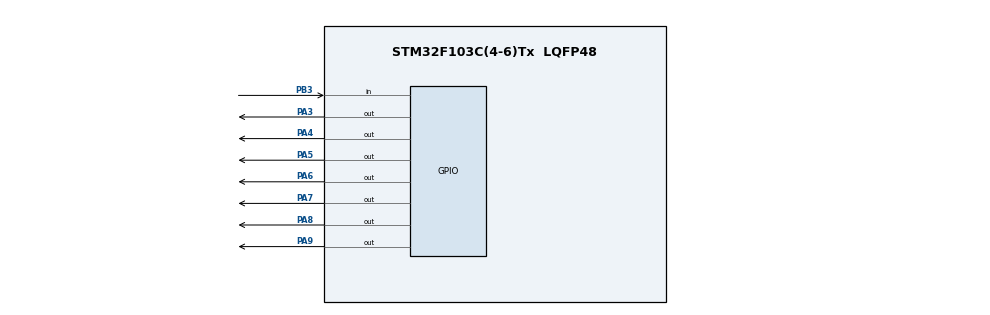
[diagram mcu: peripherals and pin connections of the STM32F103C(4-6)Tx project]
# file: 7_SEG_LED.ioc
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Mcu.Family=STM32F1
Mcu.Name=STM32F103C(4-6)Tx
Mcu.Package=LQFP48
NVIC.PriorityGroup=NVIC_PRIORITYGROUP_4
PA3.Signal=GPIO_Output
PA4.Signal=GPIO_Output
PA5.Signal=GPIO_Output
PA6.Signal=GPIO_Output
PA7.Signal=GPIO_Output
PA8.Signal=GPIO_Output
PA9.Signal=GPIO_Output
PB3.Signal=GPIO_Input
ProjectManager.HeapSize=0x200
ProjectManager.StackSize=0x400
ProjectManager.TargetToolchain=STM32CubeIDE
RCC.APB1Freq_Value=8000000
RCC.APB2Freq_Value=8000000
VP_SYS_VS_ND.Mode=No_Debug
board=custom

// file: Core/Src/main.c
/* USER CODE BEGIN Header */
/**
  ******************************************************************************
  * @file           : main.c
  * @brief          : Main program body
  ******************************************************************************
  * @attention
  *
  * <h2><center>&copy; Copyright (c) 2024 STMicroelectronics.
  * All rights reserved.</center></h2>
  *
  * This software component is licensed by ST under BSD 3-Clause license,
  * the "License"; You may not use this file except in compliance with the
  * License. You may obtain a copy of the License at:
  *                        opensource.org/licenses/BSD-3-Clause
  *
  ******************************************************************************
  */
/* USER CODE END Header */
#include "main.h"

void SystemClock_Config(void);
static void MX_GPIO_Init(void);

static void display7SEG(int num) {
    switch (num) {
        case 0:
            HAL_GPIO_WritePin(GPIOA, GPIO_PIN_3, GPIO_PIN_SET);
            HAL_GPIO_WritePin(GPIOA, GPIO_PIN_4, GPIO_PIN_SET);
            HAL_GPIO_WritePin(GPIOA, GPIO_PIN_5, GPIO_PIN_SET);
            HAL_GPIO_WritePin(GPIOA, GPIO_PIN_6, GPIO_PIN_SET);
            HAL_GPIO_WritePin(GPIOA, GPIO_PIN_7, GPIO_PIN_SET);
            HAL_GPIO_WritePin(GPIOA, GPIO_PIN_8, GPIO_PIN_SET);
            HAL_GPIO_WritePin(GPIOA, GPIO_PIN_9, GPIO_PIN_RESET);
            break;
        case 1:
        	HAL_GPIO_WritePin(GPIOA, GPIO_PIN_3, GPIO_PIN_RESET);
			HAL_GPIO_WritePin(GPIOA, GPIO_PIN_4, GPIO_PIN_SET);
			HAL_GPIO_WritePin(GPIOA, GPIO_PIN_5, GPIO_PIN_SET);
			HAL_GPIO_WritePin(GPIOA, GPIO_PIN_6, GPIO_PIN_RESET);
			HAL_GPIO_WritePin(GPIOA, GPIO_PIN_7, GPIO_PIN_RESET);
			HAL_GPIO_WritePin(GPIOA, GPIO_PIN_8, GPIO_PIN_RESET);
			HAL_GPIO_WritePin(GPIOA, GPIO_PIN_9, GPIO_PIN_RESET);
            break;
        case 2:
        	HAL_GPIO_WritePin(GPIOA, GPIO_PIN_3, GPIO_PIN_SET);
			HAL_GPIO_WritePin(GPIOA, GPIO_PIN_4, GPIO_PIN_SET);
			HAL_GPIO_WritePin(GPIOA, GPIO_PIN_5, GPIO_PIN_RESET);
			HAL_GPIO_WritePin(GPIOA, GPIO_PIN_6, GPIO_PIN_SET);
			HAL_GPIO_WritePin(GPIOA, GPIO_PIN_7, GPIO_PIN_SET);
			HAL_GPIO_WritePin(GPIOA, GPIO_PIN_8, GPIO_PIN_RESET);
			HAL_GPIO_WritePin(GPIOA, GPIO_PIN_9, GPIO_PIN_SET);
            break;
          case 3:
          	HAL_GPIO_WritePin(GPIOA, GPIO_PIN_3, GPIO_PIN_SET);
  			HAL_GPIO_WritePin(GPIOA, GPIO_PIN_4, GPIO_PIN_SET);
  			HAL_GPIO_WritePin(GPIOA, GPIO_PIN_5, GPIO_PIN_SET);
  			HAL_GPIO_WritePin(GPIOA, GPIO_PIN_6, GPIO_PIN_SET);
  			HAL_GPIO_WritePin(GPIOA, GPIO_PIN_7, GPIO_PIN_RESET);
  			HAL_GPIO_WritePin(GPIOA, GPIO_PIN_8, GPIO_PIN_RESET);
  			HAL_GPIO_WritePin(GPIOA, GPIO_PIN_9, GPIO_PIN_SET);
            break;
          case 4:
          	HAL_GPIO_WritePin(GPIOA, GPIO_PIN_3, GPIO_PIN_RESET);
  			HAL_GPIO_WritePin(GPIOA, GPIO_PIN_4, GPIO_PIN_SET);
  			HAL_GPIO_WritePin(GPIOA, GPIO_PIN_5, GPIO_PIN_SET);
  			HAL_GPIO_WritePin(GPIOA, GPIO_PIN_6, GPIO_PIN_RESET);
  			HAL_GPIO_WritePin(GPIOA, GPIO_PIN_7, GPIO_PIN_RESET);
  			HAL_GPIO_WritePin(GPIOA, GPIO_PIN_8, GPIO_PIN_SET);
  			HAL_GPIO_WritePin(GPIOA, GPIO_PIN_9, GPIO_PIN_SET);
            break;
          case 5:
          	HAL_GPIO_WritePin(GPIOA, GPIO_PIN_3, GPIO_PIN_SET);
  			HAL_GPIO_WritePin(GPIOA, GPIO_PIN_4, GPIO_PIN_RESET);
  			HAL_GPIO_WritePin(GPIOA, GPIO_PIN_5, GPIO_PIN_SET);
  			HAL_GPIO_WritePin(GPIOA, GPIO_PIN_6, GPIO_PIN_SET);
  			HAL_GPIO_WritePin(GPIOA, GPIO_PIN_7, GPIO_PIN_RESET);
  			HAL_GPIO_WritePin(GPIOA, GPIO_PIN_8, GPIO_PIN_SET);
  			HAL_GPIO_WritePin(GPIOA, GPIO_PIN_9, GPIO_PIN_SET);
            break;
          case 6:
            	HAL_GPIO_WritePin(GPIOA, GPIO_PIN_3, GPIO_PIN_SET);
    			HAL_GPIO_WritePin(GPIOA, GPIO_PIN_4, GPIO_PIN_RESET);
    			HAL_GPIO_WritePin(GPIOA, GPIO_PIN_5, GPIO_PIN_SET);
    			HAL_GPIO_WritePin(GPIOA, GPIO_PIN_6, GPIO_PIN_SET);
    			HAL_GPIO_WritePin(GPIOA, GPIO_PIN_7, GPIO_PIN_SET);
    			HAL_GPIO_WritePin(GPIOA, GPIO_PIN_8, GPIO_PIN_SET);
    			HAL_GPIO_WritePin(GPIOA, GPIO_PIN_9, GPIO_PIN_SET);
            break;
          case 7:
          	HAL_GPIO_WritePin(GPIOA, GPIO_PIN_3, GPIO_PIN_SET);
  			HAL_GPIO_WritePin(GPIOA, GPIO_PIN_4, GPIO_PIN_SET);
  			HAL_GPIO_WritePin(GPIOA, GPIO_PIN_5, GPIO_PIN_SET);
  			HAL_GPIO_WritePin(GPIOA, GPIO_PIN_6, GPIO_PIN_RESET);
  			HAL_GPIO_WritePin(GPIOA, GPIO_PIN_7, GPIO_PIN_RESET);
  			HAL_GPIO_WritePin(GPIOA, GPIO_PIN_8, GPIO_PIN_RESET);
  			HAL_GPIO_WritePin(GPIOA, GPIO_PIN_9, GPIO_PIN_RESET);
            break;
          case 8:
          	HAL_GPIO_WritePin(GPIOA, GPIO_PIN_3, GPIO_PIN_SET);
  			HAL_GPIO_WritePin(GPIOA, GPIO_PIN_4, GPIO_PIN_SET);
  			HAL_GPIO_WritePin(GPIOA, GPIO_PIN_5, GPIO_PIN_SET);
  			HAL_GPIO_WritePin(GPIOA, GPIO_PIN_6, GPIO_PIN_SET);
  			HAL_GPIO_WritePin(GPIOA, GPIO_PIN_7, GPIO_PIN_SET);
  			HAL_GPIO_WritePin(GPIOA, GPIO_PIN_8, GPIO_PIN_SET);
  			HAL_GPIO_WritePin(GPIOA, GPIO_PIN_9, GPIO_PIN_SET);
            break;
          case 9:
          	HAL_GPIO_WritePin(GPIOA, GPIO_PIN_3, GPIO_PIN_SET);
  			HAL_GPIO_WritePin(GPIOA, GPIO_PIN_4, GPIO_PIN_SET);
  			HAL_GPIO_WritePin(GPIOA, GPIO_PIN_5, GPIO_PIN_SET);
  			HAL_GPIO_WritePin(GPIOA, GPIO_PIN_6, GPIO_PIN_SET);
  			HAL_GPIO_WritePin(GPIOA, GPIO_PIN_7, GPIO_PIN_RESET);
  			HAL_GPIO_WritePin(GPIOA, GPIO_PIN_8, GPIO_PIN_SET);
  			HAL_GPIO_WritePin(GPIOA, GPIO_PIN_9, GPIO_PIN_SET);
            break;
          default:
              break;
    }
}

int main(void)
{

  /* MCU Configuration--------------------------------------------------------*/

  /* Reset of all peripherals, Initializes the Flash interface and the Systick. */
  HAL_Init();

  /* Configure the system clock */
  SystemClock_Config();

  /* Initialize all configured peripherals */
  MX_GPIO_Init();

  /* Infinite loop */
  /* USER CODE BEGIN WHILE */
  int num= 0;
  display7SEG(num);
  int status_pre = 1;
  int status;
  while (1)
  {
	  status = HAL_GPIO_ReadPin(GPIOB, GPIO_PIN_3);
	  if (status_pre == 0 && status == 1) {
		  if(num ==9){
			  num = 0;
		  }
		  else {
			  num++;
		  }
        	HAL_GPIO_WritePin(GPIOA, GPIO_PIN_3, GPIO_PIN_RESET);
			HAL_GPIO_WritePin(GPIOA, GPIO_PIN_4, GPIO_PIN_RESET);
			HAL_GPIO_WritePin(GPIOA, GPIO_PIN_5, GPIO_PIN_RESET);
			HAL_GPIO_WritePin(GPIOA, GPIO_PIN_6, GPIO_PIN_RESET);
			HAL_GPIO_WritePin(GPIOA, GPIO_PIN_7, GPIO_PIN_RESET);
			HAL_GPIO_WritePin(GPIOA, GPIO_PIN_8, GPIO_PIN_RESET);
			HAL_GPIO_WritePin(GPIOA, GPIO_PIN_9, GPIO_PIN_RESET);

	  }

	  else if (status_pre == 1 && status == 0) {
		  display7SEG(num);

	  }

	  else if (status_pre == 0 && status == 0) {
		  display7SEG(num);
	  }

	  else {
		  	HAL_GPIO_WritePin(GPIOA, GPIO_PIN_3, GPIO_PIN_RESET);
			HAL_GPIO_WritePin(GPIOA, GPIO_PIN_4, GPIO_PIN_RESET);
			HAL_GPIO_WritePin(GPIOA, GPIO_PIN_5, GPIO_PIN_RESET);
			HAL_GPIO_WritePin(GPIOA, GPIO_PIN_6, GPIO_PIN_RESET);
			HAL_GPIO_WritePin(GPIOA, GPIO_PIN_7, GPIO_PIN_RESET);
			HAL_GPIO_WritePin(GPIOA, GPIO_PIN_8, GPIO_PIN_RESET);
			HAL_GPIO_WritePin(GPIOA, GPIO_PIN_9, GPIO_PIN_RESET);
	  }

    /* USER CODE END WHILE */
		  status_pre = status;
  }
}

void SystemClock_Config(void)
{
  RCC_OscInitTypeDef RCC_OscInitStruct = {0};
  RCC_ClkInitTypeDef RCC_ClkInitStruct = {0};

  /** Initializes the RCC Oscillators according to the specified parameters
  * in the RCC_OscInitTypeDef structure.
  */
  RCC_OscInitStruct.OscillatorType = RCC_OSCILLATORTYPE_HSI;
  RCC_OscInitStruct.HSIState = RCC_HSI_ON;
  RCC_OscInitStruct.HSICalibrationValue = RCC_HSICALIBRATION_DEFAULT;
  RCC_OscInitStruct.PLL.PLLState = RCC_PLL_NONE;
  if (HAL_RCC_OscConfig(&RCC_OscInitStruct) != HAL_OK)
  {
    Error_Handler();
  }
  /** Initializes the CPU, AHB and APB buses clocks
  */
  RCC_ClkInitStruct.ClockType = RCC_CLOCKTYPE_HCLK|RCC_CLOCKTYPE_SYSCLK
                              |RCC_CLOCKTYPE_PCLK1|RCC_CLOCKTYPE_PCLK2;
  RCC_ClkInitStruct.SYSCLKSource = RCC_SYSCLKSOURCE_HSI;
  RCC_ClkInitStruct.AHBCLKDivider = RCC_SYSCLK_DIV1;
  RCC_ClkInitStruct.APB1CLKDivider = RCC_HCLK_DIV1;
  RCC_ClkInitStruct.APB2CLKDivider = RCC_HCLK_DIV1;

  if (HAL_RCC_ClockConfig(&RCC_ClkInitStruct, FLASH_LATENCY_0) != HAL_OK)
  {
    Error_Handler();
  }
}

static void MX_GPIO_Init(void)
{
  GPIO_InitTypeDef GPIO_InitStruct = {0};

  /* GPIO Ports Clock Enable */
  __HAL_RCC_GPIOA_CLK_ENABLE();
  __HAL_RCC_GPIOB_CLK_ENABLE();

  /*Configure GPIO pin Output Level */
  HAL_GPIO_WritePin(GPIOA, GPIO_PIN_3|GPIO_PIN_4|GPIO_PIN_5|GPIO_PIN_6
                          |GPIO_PIN_7|GPIO_PIN_8|GPIO_PIN_9, GPIO_PIN_RESET);

  /*Configure GPIO pins : PA3 PA4 PA5 PA6
                           PA7 PA8 PA9 */
  GPIO_InitStruct.Pin = GPIO_PIN_3|GPIO_PIN_4|GPIO_PIN_5|GPIO_PIN_6
                          |GPIO_PIN_7|GPIO_PIN_8|GPIO_PIN_9;
  GPIO_InitStruct.Mode = GPIO_MODE_OUTPUT_PP;
  GPIO_InitStruct.Pull = GPIO_NOPULL;
  GPIO_InitStruct.Speed = GPIO_SPEED_FREQ_LOW;
  HAL_GPIO_Init(GPIOA, &GPIO_InitStruct);

  /*Configure GPIO pin : PB3 */
  GPIO_InitStruct.Pin = GPIO_PIN_3;
  GPIO_InitStruct.Mode = GPIO_MODE_INPUT;
  GPIO_InitStruct.Pull = GPIO_NOPULL;
  HAL_GPIO_Init(GPIOB, &GPIO_InitStruct);

}

void Error_Handler(void)
{
  __disable_irq();
  while (1)
  {
  }
}

/************************ (C) COPYRIGHT STMicroelectronics *****END OF FILE****/
